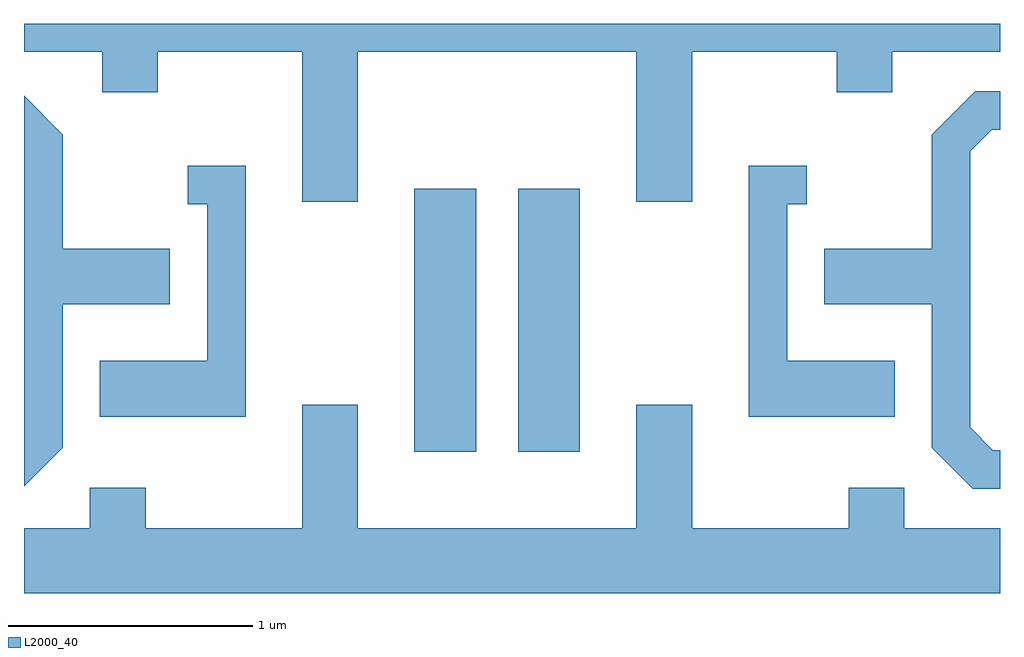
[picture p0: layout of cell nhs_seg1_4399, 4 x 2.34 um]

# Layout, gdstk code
import gdstk
lib = gdstk.Library(unit=1e-6, precision=1e-09)
def R(c, l, rs):  # rectangles x0, y0, x1, y1
    for r in rs: c.add(gdstk.rectangle(r[:2], r[2:], *l))
def P(c, l, *ps):  # polygons
    for p in ps: c.add(gdstk.Polygon(p, *l))
L2000_40 = (2000, 40)

nhs_seg1_4399 = lib.new_cell('nhs_seg1_4399')
R(nhs_seg1_4399, L2000_40, [(319.211,877.956,319.464,879.034), (319.636,877.956,319.889,879.034)])
P(nhs_seg1_4399, L2000_40, [(318.979,879.596),(320.121,879.596),(320.121,878.981),(320.349,878.981),(320.349,879.596),(320.941,879.596),(320.941,879.431),(321.169,879.431),(321.169,879.596),(321.611,879.596),(321.611,879.712),(317.611,879.712),(317.611,879.596),(317.931,879.596),(317.931,879.431),(318.159,879.431),(318.159,879.596),(318.751,879.596),(318.751,878.981),(318.979,878.981)],
  [(321.611,877.964),(321.582,877.964),(321.489,878.057),(321.489,879.189),(321.577,879.276),(321.611,879.276),(321.611,879.434),(321.509,879.434),(321.331,879.257),(321.331,878.789),(320.891,878.789),(320.891,878.561),(321.331,878.561),(321.331,877.974),(321.499,877.806),(321.611,877.806)],
  [(317.769,877.974),(317.769,878.561),(318.209,878.561),(318.209,878.789),(317.769,878.789),(317.769,879.257),(317.611,879.415),(317.611,877.815)],
  [(321.179,878.329),(320.739,878.329),(320.739,878.971),(320.818,878.971),(320.818,879.129),(320.581,879.129),(320.581,878.101),(321.179,878.101)],
  [(318.519,879.129),(318.283,879.129),(318.283,878.971),(318.361,878.971),(318.361,878.329),(317.921,878.329),(317.921,878.101),(318.519,878.101)],
  [(321.611,877.644),(321.219,877.644),(321.219,877.809),(320.991,877.809),(320.991,877.644),(320.349,877.644),(320.349,878.149),(320.121,878.149),(320.121,877.644),(318.979,877.644),(318.979,878.149),(318.751,878.149),(318.751,877.644),(318.109,877.644),(318.109,877.809),(317.881,877.809),(317.881,877.644),(317.611,877.644),(317.611,877.376),(321.611,877.376)])

lib.write_gds('nhs_seg1_4399.gds')
